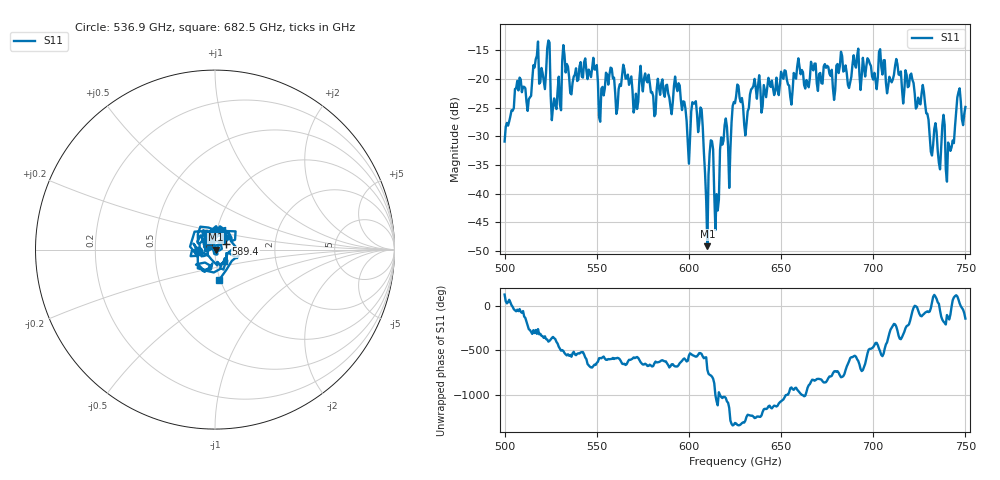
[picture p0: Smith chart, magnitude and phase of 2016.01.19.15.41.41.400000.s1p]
!Created with skrf (http://scikit-rf.org).
# GHz S RI R 50.0
!freq ReS11 ImS11
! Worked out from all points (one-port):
!   401 points, 500 GHz to 750 GHz, reference 50 ohm
!   lowest |S11| = -49.1 dB at 610 GHz (marker M1), VSWR 1.01, Z = 50.4 + j0.00587 ohm
!   |S11| at or under -10 dB: start of sweep to end of sweep
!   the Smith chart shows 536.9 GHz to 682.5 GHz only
!   S11 on the Smith chart (normalised r, x): 536.9 GHz: 0.83, -0.01; 589.4 GHz: 1.13, +0.07; 682.5 GHz: 0.98, -0.35
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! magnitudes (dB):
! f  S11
! 500 GHz  -30.9
! 507.5 GHz  -22.0
! 513.1 GHz  -23.5
! 516.9 GHz  -16.6
! 523.8 GHz  -13.3
! 526.9 GHz  -23.4
! 531.2 GHz  -16.8
! 536.9 GHz  -20.6
! 562.5 GHz  -20.9
! 589.4 GHz  -23.2
! 593.8 GHz  -22.1
! 599.4 GHz  -30.9
! 606.2 GHz  -24.9
! 610 GHz  -49.1
! 611.9 GHz  -30.7
! 615 GHz  -40.1
! 618.1 GHz  -31.4
! 621.9 GHz  -39.0
! 625 GHz  -24.2
! 631.2 GHz  -27.8
! 635 GHz  -21.2
! 656.2 GHz  -22.0
! 682.5 GHz  -15.2
! 687.5 GHz  -20.5
! 718.8 GHz  -21.4
! 740.6 GHz  -31.1
! 746.2 GHz  -22.3
! 750 GHz  -24.9
